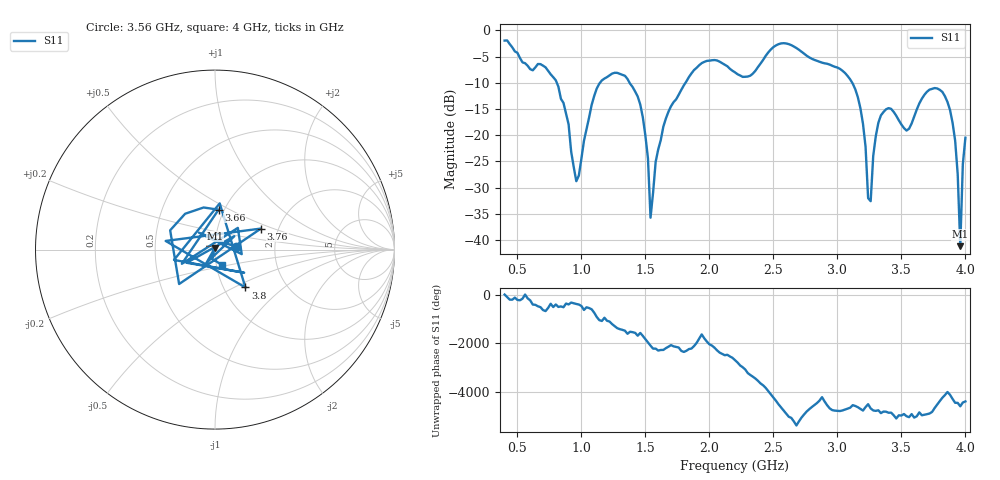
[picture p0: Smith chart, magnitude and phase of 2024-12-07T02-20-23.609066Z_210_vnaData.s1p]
!Created with skrf (http://scikit-rf.org).
# Hz S RI R 50.0
!freq ReS11 ImS11
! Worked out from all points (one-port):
!   181 points, 400 MHz to 4 GHz, reference 50 ohm
!   lowest |S11| = -41.1 dB at 3.96 GHz (marker M1), VSWR 1.02, Z = 49.9 + j0.873 ohm
!   |S11| at or under -10 dB: 807.9 MHz to 1.145 GHz (337.5 MHz wide, 34.6 % of centre); 1.376 GHz to 1.813 GHz (436.9 MHz wide, 27.4 % of centre); 3.116 GHz to end of sweep
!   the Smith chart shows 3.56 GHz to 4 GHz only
!   S11 on the Smith chart (normalised r, x): 3.56 GHz: 1.26, +0.04; 3.66 GHz: 0.94, +0.44; 3.76 GHz: 1.62, +0.41; 3.8 GHz: 1.26, -0.58; 4 GHz: 1.07, -0.19
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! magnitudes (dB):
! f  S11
! 400 MHz  -2.0
! 860 MHz  -13.8
! 960 MHz  -28.8
! 1.12 GHz  -11.1
! 1.3 GHz  -8.3
! 1.46 GHz  -14.2
! 1.52 GHz  -24.4
! 1.54 GHz  -35.7
! 1.64 GHz  -18.4
! 1.76 GHz  -12.3
! 1.96 GHz  -6.0
! 2.2 GHz  -8.0
! 2.66 GHz  -3.1
! 3.1 GHz  -9.4
! 3.18 GHz  -14.9
! 3.22 GHz  -22.2
! 3.24 GHz  -32.0
! 3.26 GHz  -32.6
! 3.28 GHz  -23.9
! 3.34 GHz  -16.2
! 3.56 GHz  -18.8
! 3.66 GHz  -13.0
! 3.76 GHz  -11.0
! 3.8 GHz  -11.3
! 3.92 GHz  -21.0
! 3.96 GHz  -41.1
! 3.98 GHz  -25.5
! 4 GHz  -20.5
